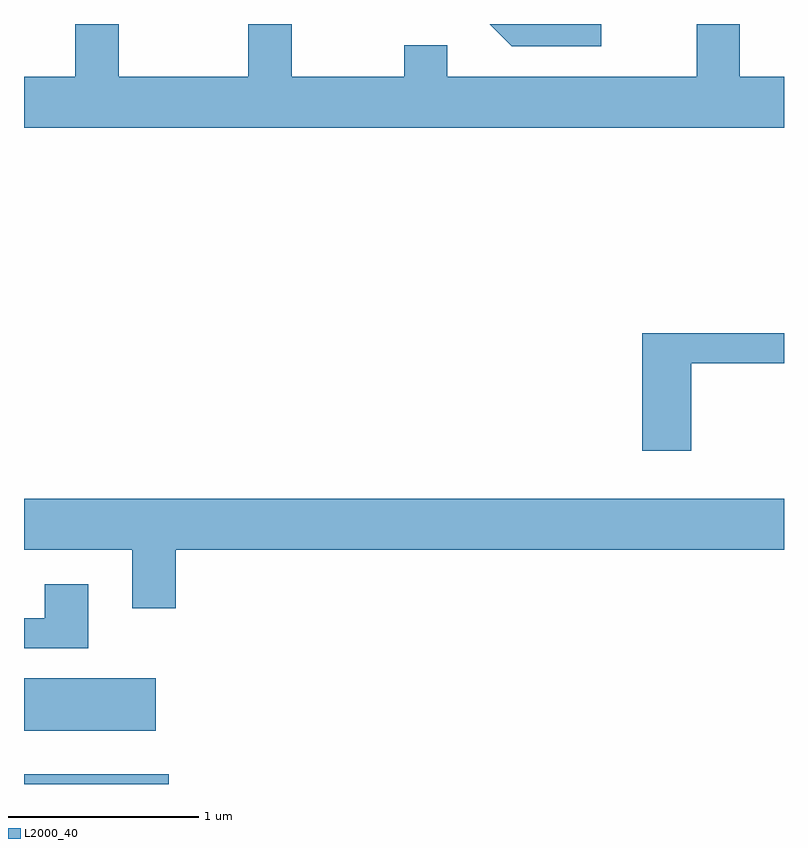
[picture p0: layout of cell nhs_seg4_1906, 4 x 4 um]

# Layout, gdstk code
import gdstk
lib = gdstk.Library(unit=1e-6, precision=1e-09)
def R(c, l, rs):  # rectangles x0, y0, x1, y1
    for r in rs: c.add(gdstk.rectangle(r[:2], r[2:], *l))
def P(c, l, *ps):  # polygons
    for p in ps: c.add(gdstk.Polygon(p, *l))
L2000_40 = (2000, 40)

nhs_seg4_1906 = lib.new_cell('nhs_seg4_1906')
R(nhs_seg4_1906, L2000_40, [(241.611,1257.982,242.374,1258.034), (241.611,1258.261,242.304,1258.539)])
P(nhs_seg4_1906, L2000_40, [(241.881,1261.982),(241.881,1261.704),(241.611,1261.704),(241.611,1261.436),(245.611,1261.436),(245.611,1261.704),(245.379,1261.704),(245.379,1261.982),(245.151,1261.982),(245.151,1261.704),(243.839,1261.704),(243.839,1261.869),(243.611,1261.869),(243.611,1261.704),(243.019,1261.704),(243.019,1261.982),(242.791,1261.982),(242.791,1261.704),(242.109,1261.704),(242.109,1261.982)],
  [(244.648,1261.982),(244.063,1261.982),(244.179,1261.866),(244.648,1261.866)],
  [(245.124,1260.196),(245.611,1260.196),(245.611,1260.354),(244.866,1260.354),(244.866,1259.736),(245.124,1259.736)],
  [(242.409,1259.216),(245.611,1259.216),(245.611,1259.484),(241.611,1259.484),(241.611,1259.216),(242.181,1259.216),(242.181,1258.906),(242.409,1258.906)],
  [(241.949,1259.034),(241.721,1259.034),(241.721,1258.854),(241.611,1258.854),(241.611,1258.696),(241.949,1258.696)])

lib.write_gds('nhs_seg4_1906.gds')
